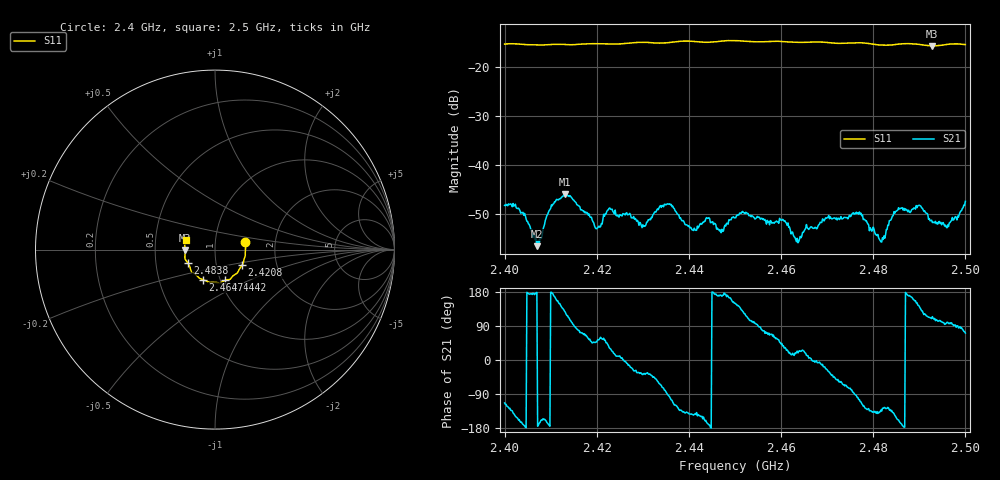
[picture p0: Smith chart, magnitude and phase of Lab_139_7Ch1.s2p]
# Hz S RI R 50
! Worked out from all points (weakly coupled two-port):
!   601 points, 2.4 GHz to 2.5 GHz, reference 50 ohm
!   highest |S21| = -45.94 dB at 2.4132 GHz (marker M1); lowest = -56.6 dB at 2.407 GHz (marker M2)
!   lowest |S11| = -15.6 dB at 2.4928 GHz (marker M3), VSWR 1.40, Z = 35.8 - j0.35 ohm
!   |S11| at or under -10 dB: start of sweep to end of sweep
!   S12 and S22 are empty: the file has one direction only
!   S11 on the Smith chart (normalised r, x): 2.4 GHz: 1.40, +0.12; 2.4208 GHz: 1.33, -0.24; 2.4442 GHz: 1.05, -0.37; 2.4647 GHz: 0.83, -0.29; 2.4838 GHz: 0.73, -0.11; 2.5 GHz: 0.72, +0.08
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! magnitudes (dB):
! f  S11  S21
! 2.4 GHz  -15.2  -48.2
! 2.407 GHz  -15.4  -56.6
! 2.4132 GHz  -15.3  -45.9
! 2.4167 GHz  -15.2  -49.1
! 2.4208 GHz  -15.2  -52.5
! 2.4228 GHz  -15.2  -48.8
! 2.4302 GHz  -14.9  -52.5
! 2.4333 GHz  -15.1  -49.1
! 2.4412 GHz  -14.7  -52.9
! 2.4442 GHz  -14.9  -50.9
! 2.447 GHz  -14.6  -53.8
! 2.45 GHz  -14.5  -50.7
! 2.4647 GHz  -14.9  -53.7
! 2.4667 GHz  -14.8  -52.6
! 2.4768 GHz  -15.0  -50.0
! 2.4817 GHz  -15.4  -55.7
! 2.4833 GHz  -15.5  -52.3
! 2.4838 GHz  -15.4  -51.2
! 2.4898 GHz  -15.3  -48.2
! 2.4928 GHz  -15.6  -51.7
! 2.496 GHz  -15.3  -52.8
! 2.5 GHz  -15.3  -47.4
